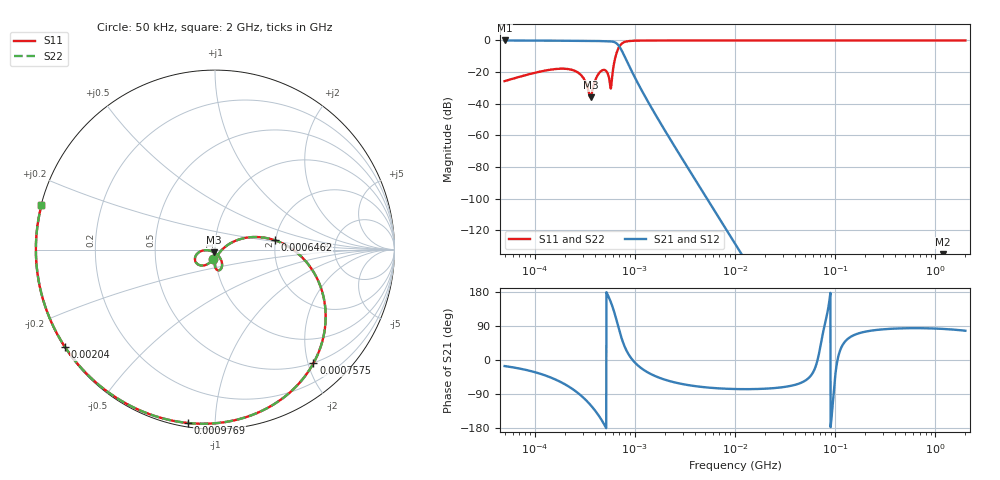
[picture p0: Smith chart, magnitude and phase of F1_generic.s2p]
! Created with skrf 2.2.0 (http://scikit-rf.org).
# MHz S RI R 50.0
! Port[1] = P1
! Port[2] = P2
!freq ReS11 ImS11 ReS21 ImS21 ReS12 ImS12 ReS22 ImS22
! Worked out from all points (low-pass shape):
!   2001 points, 50 kHz to 2 GHz, reference 50 ohm
!   highest |S21| = -0.04 dB at 50 kHz (marker M1); lowest = -199.0 dB at 1.19 GHz (marker M2)
!   |S21| within 3 dB of the highest: start of sweep to 684.5 kHz
!   lowest |S11| = -36.0 dB at 360.8 kHz (marker M3), VSWR 1.03, Z = 49.3 - j1.42 ohm
!   |S11| at or under -10 dB: start of sweep to 642.4 kHz
!   |S22| runs from -36.0 to 0.0 dB; largest |S21 - S12| = 9.9e-16
!   S11 on the Smith chart (normalised r, x): 50 kHz: 0.97, -0.10; 646.2 kHz: 1.99, +0.23; 757.5 kHz: 0.49, -2.09; 976.9 kHz: 0.02, -0.86; 2.04 MHz: 0.00, -0.30; 2 GHz: 0.00, +0.13
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0.05  -0.0117 -0.0505  0.957 -0.2747  0.957 -0.2747  -0.0117 -0.0505
0.1450364  -0.0812 -0.088  0.6782 -0.7118  0.6782 -0.7118  -0.0812 -0.088
0.2239554  -0.1117 -0.0492  0.3043 -0.9275  0.3043 -0.9275  -0.1117 -0.0492
0.2934364  -0.0767 -0.00819  -0.0862 -0.9701  -0.0862 -0.9701  -0.0767 -0.00819
0.3607898  -0.00643 -0.0144  -0.4675 -0.8498  -0.4675 -0.8498  -0.00643 -0.0144
0.438927  0.0396 -0.0838  -0.8122 -0.5066  -0.8122 -0.5066  0.0396 -0.0838
0.5227888  0.00337 -0.1038  -0.9415 0.0381  -0.9415 0.0381  0.00337 -0.1038
0.5781571  0.0305 -0.01  -0.8148 0.4472  -0.8148 0.4472  0.0305 -0.01
0.6462008  0.3349 0.0516  -0.3031 0.7798  -0.3031 0.7798  0.3349 0.0516
0.7033702  0.6039 -0.2596  0.1578 0.6056  0.1578 0.6056  0.6039 -0.2596
0.7575275  0.5486 -0.6327  0.2745 0.3057  0.2745 0.3057  0.5486 -0.6327
0.8422073  0.2342 -0.9105  0.1914 0.0712  0.1914 0.0712  0.2342 -0.9105
0.9768949  -0.1513 -0.966  0.078 -0.0052  0.078 -0.0052  -0.1513 -0.966
1.246508  -0.5234 -0.8418  0.0163 -0.00845  0.0163 -0.00845  -0.5234 -0.8418
1.712999  -0.7619 -0.6407  0.00223 -0.00229  0.00223 -0.00229  -0.7619 -0.6407
2.040286  -0.8348 -0.5439  0.000766 -0.00101  0.000766 -0.00101  -0.8348 -0.5439
3.411072  -0.9413 -0.3299  3.62e-05 -8.23e-05  3.62e-05 -8.23e-05  -0.9413 -0.3299
10  -0.9916 -0.1121  8.94e-08 -3.76e-07  8.94e-08 -3.76e-07  -0.9916 -0.1121
58.68728  -0.9979 -0.012  6.69e-12 -5.09e-12  6.69e-12 -5.09e-12  -0.9979 -0.012
342.5997  -0.9972 0.0396  3.75e-12 2.68e-11  3.75e-12 2.68e-11  -0.9972 0.0396
1189.951  -0.9871 0.1475  1.55e-11 1.12e-10  1.55e-11 1.12e-10  -0.9871 0.1475
2000  -0.9671 0.2464  4.19e-11 1.85e-10  4.19e-11 1.85e-10  -0.9671 0.2464
